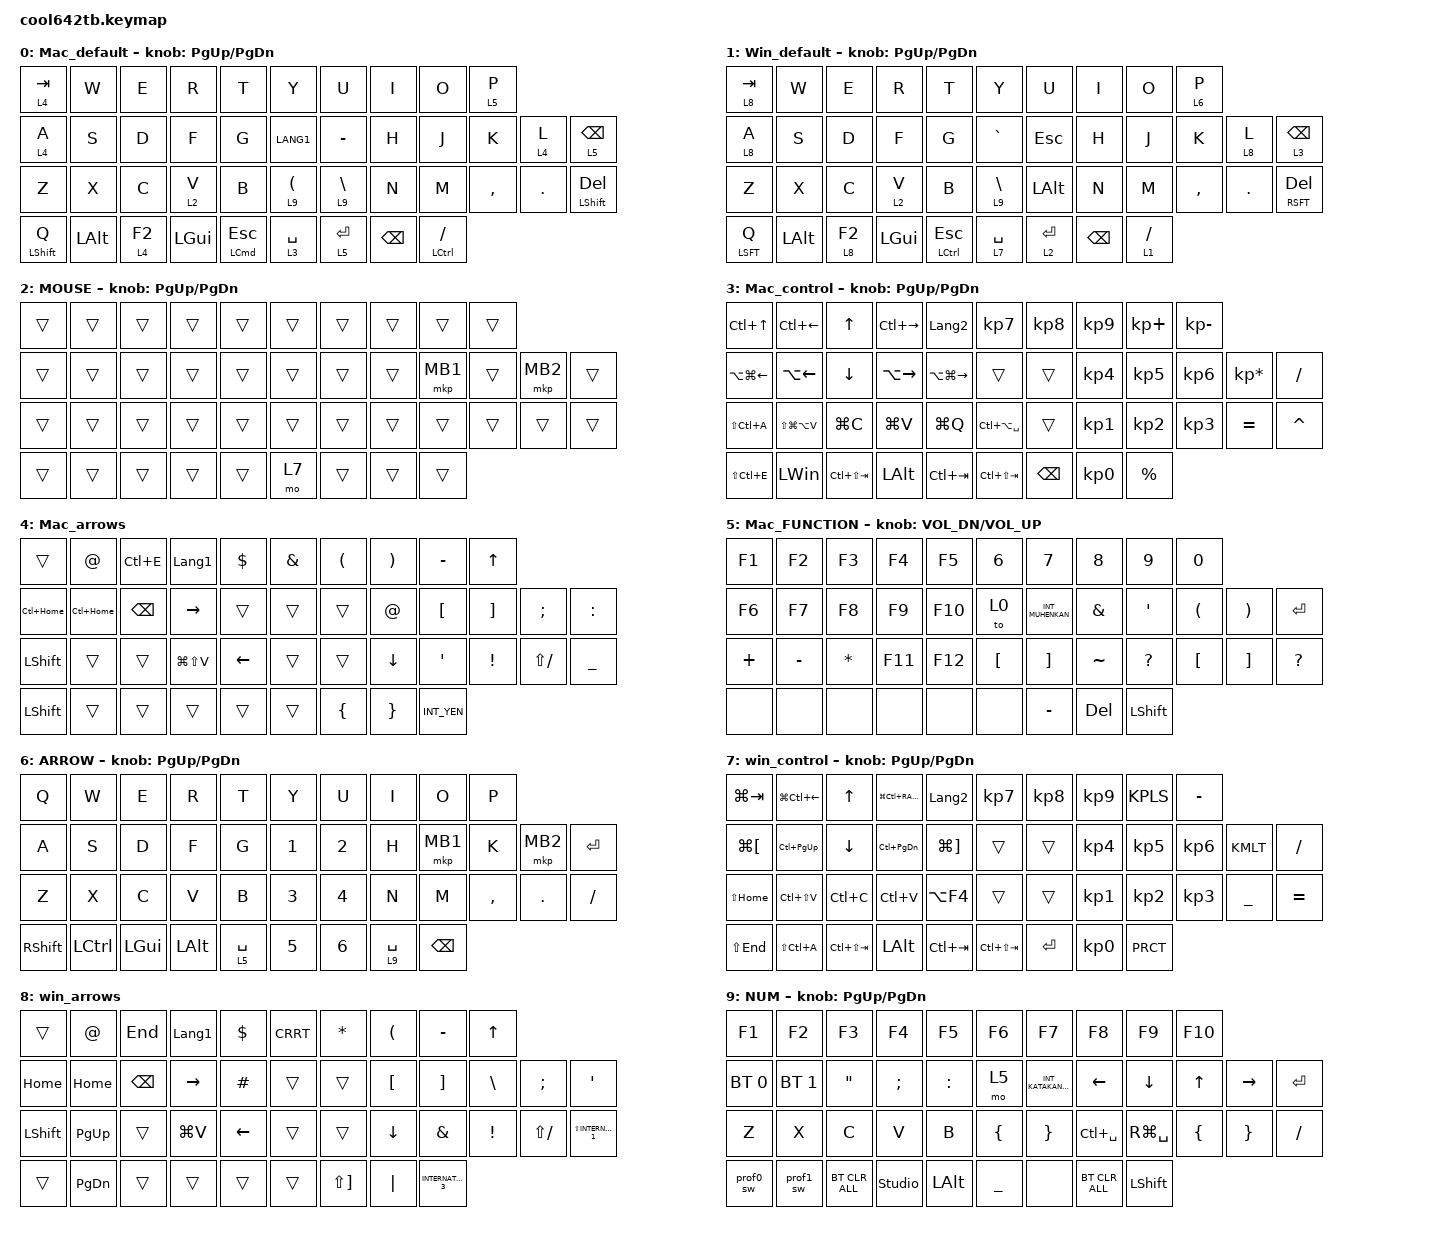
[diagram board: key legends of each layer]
#define ZMK_POINTING_DEFAULT_SCRL_VAL 5
#include <behaviors.dtsi>
#include <dt-bindings/zmk/bt.h>
#include <dt-bindings/zmk/keys.h>
#include <dt-bindings/zmk/pointing.h>

#define MOUSE 2
#define SCROLL 5
#define NUM 6

&mt {
    flavor = "balanced";
    quick-tap-ms = <0>;
};

/ {
    combos {
        compatible = "zmk,combos";

        comb1 {
            bindings = <&kp TAB>;
            key-positions = <11 10>;
        };

        comb2 {
            bindings = <&kp LS(ESCAPE)>;
            key-positions = <0 1>;
        };

        comb3 {
            bindings = <&kp CAPSLOCK>;
            key-positions = <22 23>;
        };

        comb4 {
            bindings = <&kp BACKSPACE>;
            key-positions = <9 8>;
        };

        comb5 {
            bindings = <&bt BT_CLR_ALL>;
            key-positions = <9 8>;
            timeout-ms = <0>;
            layers = <3>;
        };

        MS_BTN1_ {
            bindings = <&mkp MB1>;
            key-positions = <38 39>;
        };

        MS_BTN2_ {
            bindings = <&mkp MB2>;
            key-positions = <38 37>;
        };

        Lclick {
            bindings = <&mkp MB1>;
            key-positions = <18 19>;
        };

        Rclick {
            bindings = <&mkp MB2>;
            key-positions = <30 31>;
        };
    };

    macros {
        to_layer_0: to_layer_0 {
            compatible = "zmk,behavior-macro-one-param";
            #binding-cells = <1>;
            bindings = <&to 0 &macro_param_1to1 &kp MACRO_PLACEHOLDER>;
            label = "TO_LAYER_0";
        };

        prof0_sw: prof0_sw {
            compatible = "zmk,behavior-macro";
            #binding-cells = <0>;
            bindings = <&bt BT_SEL 0 &to 0>;
        };

        prof1_sw: prof1_sw {
            compatible = "zmk,behavior-macro";
            #binding-cells = <0>;
            bindings = <&bt BT_SEL 1 &to 1>;
        };
    };

    behaviors {
        lt_to_layer_0: lt_to_layer_0 {
            compatible = "zmk,behavior-hold-tap";
            label = "LAYER_TAP_TO_0";
            bindings = <&mo>, <&to_layer_0>;

            #binding-cells = <2>;
            tapping-term-ms = <200>;
        };

        scroll_up_down: behavior_sensor_rotate_mouse_wheel_up_down {
            compatible = "zmk,behavior-sensor-rotate";
            #sensor-binding-cells = <0>;
            bindings = <&msc SCRL_UP>, <&msc SCRL_DOWN>;

            tap-ms = <20>;
        };
    };

    // エンコーダー：キー

    rot_kp: sensor_rotate_kp {
        compatible = "zmk,behavior-sensor-rotate-var";
        #sensor-binding-cells = <2>;
        bindings = <&kp>, <&kp>;
    };

    // エンコーダー：マウススクロール 

    rot_msc: sensor_rotate_msc {
        compatible = "zmk,behavior-sensor-rotate-var";
        #sensor-binding-cells = <2>;
        tap-ms = <20>;
        bindings = <&msc>, <&msc>;
    };

    // エンコーダー：マウススクロール(MOVE_Y)

    scroll_move_y: sensor_rotate_msc_for_move_y {
        compatible = "zmk,behavior-sensor-rotate";
        #sensor-binding-cells = <0>;
        bindings = <&msc MOVE_Y(20)>, <&msc MOVE_Y(-20)>;

        // tap-ms下限メモ Yの値で可変: Y(15) <81>, Y(20) <65>, Y(25) <49>

        tap-ms = <65>;
    };

    // エンコーダー：マウススクロール(MOVE_X)

    scroll_move_x: sensor_rotate_msc_for_move_x {
        compatible = "zmk,behavior-sensor-rotate";
        #sensor-binding-cells = <0>;
        bindings = <&msc MOVE_X(20)>, <&msc MOVE_X(-20)>;

        // tap-ms下限メモ Xの値で可変: X(15) <81>, X(20) <65>, X(25) <49>

        tap-ms = <65>;
    };

    keymap {
        compatible = "zmk,keymap";

        Mac_default {
            bindings = <
&lt 4 TAB  &kp W  &kp E  &kp R  &kp T    &kp Y  &kp U  &kp I  &kp O  &lt 5 P
&lt 4 A  &kp S  &kp D  &kp F  &kp G  &kp LANG1    &kp MINUS  &kp H  &kp J  &kp K  &lt 4 L  &lt 5 BACKSPACE
&kp Z  &kp X  &kp C  &lt 2 V  &kp B  &lt 9 LEFT_PARENTHESIS    &lt 9 BACKSLASH  &kp N  &kp M  &kp COMMA  &kp PERIOD  &mt LEFT_SHIFT DELETE
&mt LEFT_SHIFT Q  &kp LEFT_ALT  &lt 4 F2  &kp LEFT_GUI  &mt LEFT_COMMAND ESCAPE  &lt 3 SPACE    &lt 5 ENTER  &kp BACKSPACE  &mt LCTRL SLASH
            >;

            sensor-bindings = <&inc_dec_kp PG_UP PAGE_DOWN>;
        };

        Win_default {
            bindings = <
&lt 8 TAB  &kp W  &kp E  &kp R  &kp T    &kp Y  &kp U  &kp I  &kp O  &lt 6 P
&lt 8 A  &kp S  &kp D  &kp F  &kp G  &kp GRAVE    &kp ESC  &kp H  &kp J  &kp K  &lt 8 L  &lt 3 BSPC
&kp Z  &kp X  &kp C  &lt 2 V  &kp B  &lt 9 BSLH    &kp LALT  &kp N  &kp M  &kp CMMA  &kp PERIOD  &mt RSFT DEL
&mt LSFT Q  &kp LALT  &lt 8 F2  &kp LGUI  &mt LCTL ESC  &lt 7 SPC    &lt 2 RET  &kp BSPC  &lt 1 FSLH
            >;

            sensor-bindings = <&inc_dec_kp PG_UP PAGE_DOWN>;
        };

        MOUSE {
            bindings = <
&trans  &trans  &trans  &trans  &trans    &trans  &trans  &trans  &trans  &trans
&trans  &trans  &trans  &trans  &trans  &trans    &trans  &trans  &mkp MB1  &trans  &mkp MB2  &trans
&trans  &trans  &trans  &trans  &trans  &trans    &trans  &trans  &trans  &trans  &trans  &trans
&trans  &trans  &trans  &trans  &trans  &mo 7    &trans  &trans  &trans
            >;

            sensor-bindings = <&inc_dec_kp PG_UP PAGE_DOWN>;
        };

        Mac_control {
            bindings = <
&kp LC(UP_ARROW)  &kp LC(LEFT)  &kp UP_ARROW  &kp LC(RIGHT)  &kp LANGUAGE_2    &kp KP_NUMBER_7  &kp KP_NUMBER_8  &kp KP_NUMBER_9  &kp KP_PLUS  &kp KP_MINUS
&kp LA(LG(LEFT))  &kp LA(LEFT)  &kp DOWN  &kp LA(RIGHT)  &kp LA(LG(RIGHT))  &trans    &trans  &kp KP_N4  &kp KP_NUMBER_5  &kp KP_NUMBER_6  &kp KP_MULTIPLY  &kp SLASH
&kp LS(LC(A))  &kp LS(LG(LA(V)))  &kp LG(C)  &kp LG(V)  &kp LG(Q)  &kp LC(LA(SPACE))    &trans  &kp KP_NUMBER_1  &kp KP_NUMBER_2  &kp KP_NUMBER_3  &kp EQUAL  &kp CARET
&kp LS(LC(E))  &kp LEFT_WIN  &kp LC(LS(TAB))  &kp LALT  &kp LC(TAB)  &kp LC(LS(TAB))    &kp BACKSPACE  &kp KP_N0  &kp PERCENT
            >;

            sensor-bindings = <&inc_dec_kp PG_UP PAGE_DOWN>;
        };

        Mac_arrows {
            bindings = <
&trans  &kp AT_SIGN  &kp LC(E)  &kp LANGUAGE_1  &kp DOLLAR    &kp AMPERSAND  &kp LEFT_PARENTHESIS  &kp RIGHT_PARENTHESIS  &kp MINUS  &kp UP_ARROW
&kp LC(HOME)  &kp LC(HOME)  &kp BACKSPACE  &kp RIGHT  &trans  &trans    &trans  &kp AT  &kp LEFT_BRACKET  &kp RIGHT_BRACKET  &kp SEMICOLON  &kp COLON
&kp LEFT_SHIFT  &trans  &trans  &kp LG(LS(V))  &kp LEFT  &trans    &trans  &kp DOWN  &kp SINGLE_QUOTE  &kp EXCLAMATION  &kp LS(SLASH)  &kp UNDER
&kp LEFT_SHIFT  &trans  &trans  &trans  &trans  &trans    &kp LEFT_BRACE  &kp RIGHT_BRACE  &kp INT_YEN
            >;
        };

        Mac_FUNCTION {
            bindings = <
&kp F1  &kp F2  &kp F3  &kp F4  &kp F5    &kp N6  &kp N7  &kp N8  &kp N9  &kp N0
&kp F6  &kp F7  &kp F8  &kp F9  &kp F10  &to 0    &kp INT_MUHENKAN  &kp AMPERSAND  &kp SQT  &kp LEFT_PARENTHESIS  &kp RIGHT_PARENTHESIS  &kp ENTER
&kp PLUS  &kp MINUS  &kp ASTERISK  &kp F11  &kp F12  &kp LEFT_BRACKET    &kp RIGHT_BRACKET  &kp TILDE  &kp QUESTION  &kp LEFT_BRACKET  &kp RIGHT_BRACKET  &kp QUESTION
&none  &none  &none  &none  &none  &none    &kp MINUS  &kp DEL  &kp LEFT_SHIFT
            >;

            sensor-bindings = <&inc_dec_kp C_VOL_DN C_VOL_UP>;
        };

        ARROW {
            bindings = <
&kp Q  &kp W  &kp E  &kp R  &kp T    &kp Y  &kp U  &kp I  &kp O  &kp P
&kp A  &kp S  &kp D  &kp F  &kp G  &kp N1    &kp N2  &kp H  &mkp MB1  &kp K  &mkp MB2  &kp ENTER
&kp Z  &kp X  &kp C  &kp V  &kp B  &kp N3    &kp N4  &kp N  &kp M  &kp COMMA  &kp PERIOD  &kp SLASH
&kp RSHIFT  &kp LCTRL  &kp LGUI  &kp LALT  &lt 5 SPACE  &kp N5    &kp N6  &lt 9 SPACE  &kp BSPC
            >;

            sensor-bindings = <&inc_dec_kp PG_UP PAGE_DOWN>;
        };

        win_control {
            bindings = <
&kp LG(TAB)  &kp LG(LC(LEFT))  &kp UP_ARROW  &kp LG(LC(RARW))  &kp LANGUAGE_2    &kp KP_NUMBER_7  &kp KP_N8  &kp KP_N9  &kp KPLS  &kp MINUS
&kp LG(LBKT)  &kp LC(PG_UP)  &kp DOWN  &kp LC(PG_DN)  &kp LG(RBKT)  &trans    &trans  &kp KP_N4  &kp KP_N5  &kp KP_N6  &kp KMLT  &kp FSLH
&kp LS(HOME)  &kp LC(LS(V))  &kp LC(C)  &kp LC(V)  &kp LA(F4)  &trans    &trans  &kp KP_N1  &kp KP_N2  &kp KP_N3  &kp UNDER  &kp EQL
&kp LS(END)  &kp LS(LC(A))  &kp LC(LS(TAB))  &kp LALT  &kp LC(TAB)  &kp LC(LS(TAB))    &kp ENTER  &kp KP_N0  &kp PRCT
            >;

            sensor-bindings = <&inc_dec_kp PG_UP PAGE_DOWN>;
        };

        win_arrows {
            bindings = <
&trans  &kp AT_SIGN  &kp END  &kp LANGUAGE_1  &kp DOLLAR    &kp CRRT  &kp ASTERISK  &kp LEFT_PARENTHESIS  &kp MINUS  &kp UP_ARROW
&kp HOME  &kp HOME  &kp BACKSPACE  &kp RIGHT  &kp HASH  &trans    &trans  &kp LEFT_BRACKET  &kp RIGHT_BRACKET  &kp BSLH  &kp SEMICOLON  &kp SQT
&kp LEFT_SHIFT  &kp PG_UP  &trans  &kp LG(V)  &kp LEFT  &trans    &trans  &kp DOWN  &kp AMPERSAND  &kp EXCLAMATION  &kp LS(SLASH)  &kp LS(INTERNATIONAL_1)
&trans  &kp PG_DN  &trans  &trans  &trans  &trans    &kp LS(RIGHT_BRACKET)  &kp PIPE  &kp INTERNATIONAL_3
            >;
        };

        NUM {
            bindings = <
&kp F1  &kp F2  &kp F3  &kp F4  &kp F5    &kp F6  &kp F7  &kp F8  &kp F9  &kp F10
&bt BT_SEL 0  &bt BT_SEL 1  &kp DOUBLE_QUOTES  &kp SEMICOLON  &kp COLON  &mo 5    &kp INT_KATAKANAHIRAGANA  &kp LEFT  &kp DOWN_ARROW  &kp UP_ARROW  &kp RIGHT  &kp ENTER
&kp Z  &kp X  &kp C  &kp V  &kp B  &kp LEFT_BRACE    &kp RIGHT_BRACE  &kp LC(SPACE)  &kp RG(SPACE)  &kp LEFT_BRACE  &kp RIGHT_BRACE  &kp SLASH
&prof0_sw  &prof1_sw  &bt BT_CLR_ALL  &studio_unlock  &kp LEFT_ALT  &kp UNDERSCORE    &none  &bt BT_CLR_ALL  &kp LEFT_SHIFT
            >;

            sensor-bindings = <&inc_dec_kp PG_UP PAGE_DOWN>;
        };
    };
};

&mmv {
    acceleration-exponent = <2>;
    time-to-max-speed-ms = <100>;
    trigger-period-ms = <5>;
    delay-ms = <20>;
};

&msc {
    acceleration-exponent = <0>;
    time-to-max-speed-ms = <100>;
    trigger-period-ms = <3>;
    delay-ms = <3>;
};
